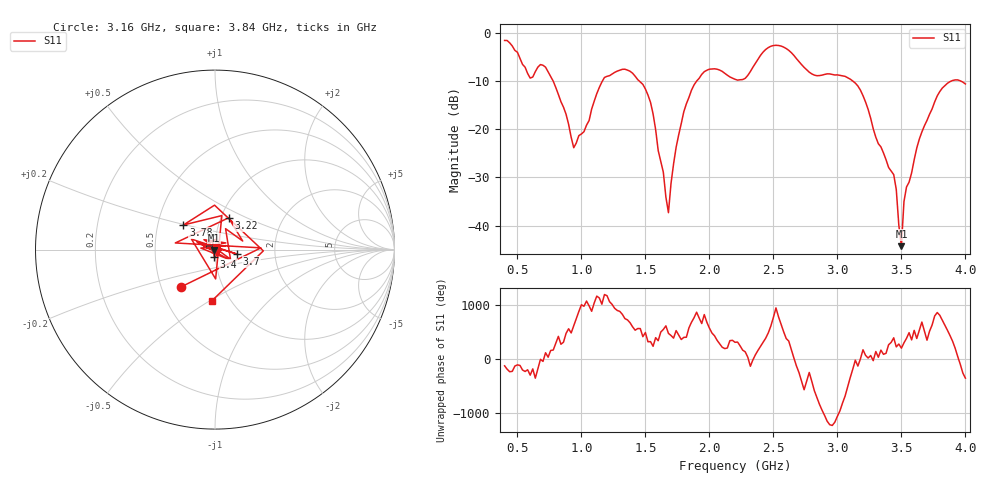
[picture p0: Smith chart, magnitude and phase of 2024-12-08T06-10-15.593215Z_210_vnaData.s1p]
!Created with skrf (http://scikit-rf.org).
# Hz S RI R 50.0
!freq ReS11 ImS11
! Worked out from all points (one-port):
!   181 points, 400 MHz to 4 GHz, reference 50 ohm
!   lowest |S11| = -44.3 dB at 3.5 GHz (marker M1), VSWR 1.01, Z = 49.4 - j0.202 ohm
!   |S11| at or under -10 dB: 780.3 MHz to 1.163 GHz (382.6 MHz wide, 39.4 % of centre); 1.454 GHz to 1.899 GHz (445.1 MHz wide, 26.5 % of centre); 3.123 GHz to 3.885 GHz (762.5 MHz wide, 21.8 % of centre) (the widest 3 of 4)
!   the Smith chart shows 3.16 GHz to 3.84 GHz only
!   S11 on the Smith chart (normalised r, x): 3.16 GHz: 0.63, -0.29; 3.22 GHz: 1.09, +0.40; 3.4 GHz: 0.99, -0.08; 3.7 GHz: 1.28, -0.06; 3.78 GHz: 0.68, +0.20; 3.84 GHz: 0.82, -0.51
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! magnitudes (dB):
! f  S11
! 400 MHz  -1.5
! 600 MHz  -9.3
! 720 MHz  -7.1
! 860 MHz  -15.4
! 940 MHz  -23.8
! 1.18 GHz  -9.2
! 1.3 GHz  -7.7
! 1.54 GHz  -14.4
! 1.68 GHz  -37.3
! 1.76 GHz  -21.1
! 1.86 GHz  -11.9
! 1.96 GHz  -8.0
! 2.2 GHz  -9.6
! 2.48 GHz  -2.7
! 2.66 GHz  -4.6
! 2.82 GHz  -8.7
! 3.1 GHz  -9.5
! 3.16 GHz  -11.0
! 3.22 GHz  -14.3
! 3.4 GHz  -27.9
! 3.46 GHz  -32.5
! 3.5 GHz  -44.3
! 3.52 GHz  -35.0
! 3.56 GHz  -31.0
! 3.7 GHz  -18.1
! 3.78 GHz  -13.0
! 3.84 GHz  -10.9
! 4 GHz  -10.6
